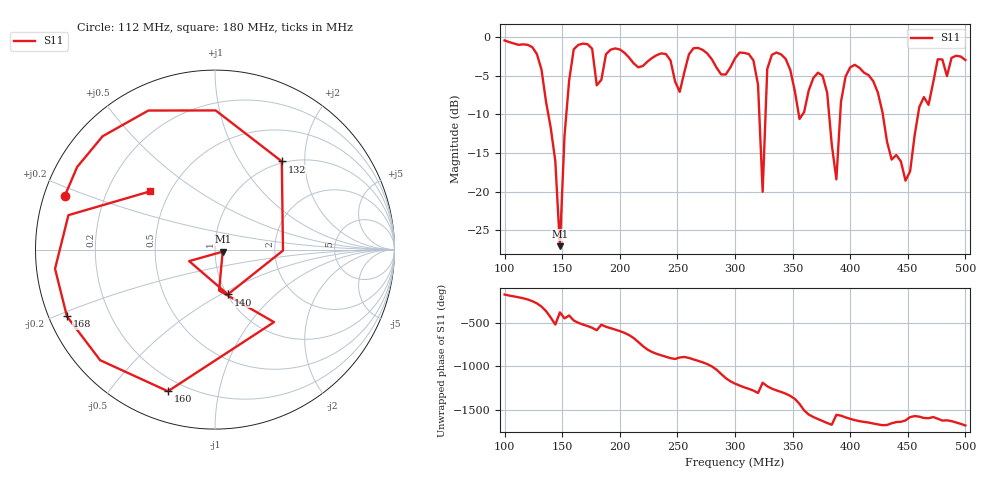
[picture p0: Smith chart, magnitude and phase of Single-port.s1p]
# HZ S RI R 50
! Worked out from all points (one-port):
!   101 points, 100 MHz to 500 MHz, reference 50 ohm
!   lowest |S11| = -27.1 dB at 148 MHz (marker M1), VSWR 1.09, Z = 54.5 - j1.26 ohm
!   |S11| at or under -10 dB: 137.9 MHz to 153.6 MHz (15.66 MHz wide, 10.7 % of centre); 381.7 MHz to 391.4 MHz (9.697 MHz wide, 2.51 % of centre); 428.3 MHz to 459 MHz (30.68 MHz wide, 6.92 % of centre)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
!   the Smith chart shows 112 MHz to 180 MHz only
!   S11 on the Smith chart (normalised r, x): 112 MHz: 0.06, +0.17; 132 MHz: 0.98, +1.55; 140 MHz: 1.01, -0.54; 160 MHz: 0.14, -0.71; 168 MHz: 0.05, -0.21; 180 MHz: 0.39, +0.33
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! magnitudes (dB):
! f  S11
! 100 MHz  -0.5
! 112 MHz  -1.0
! 132 MHz  -4.2
! 140 MHz  -11.7
! 148 MHz  -27.1
! 152 MHz  -12.8
! 160 MHz  -1.6
! 168 MHz  -0.9
! 180 MHz  -6.3
! 200 MHz  -1.6
! 240 MHz  -2.2
! 252 MHz  -7.1
! 264 MHz  -1.5
! 300 MHz  -2.8
! 316 MHz  -3.0
! 320 MHz  -6.2
! 324 MHz  -20.0
! 328 MHz  -4.1
! 352 MHz  -7.1
! 356 MHz  -10.6
! 376 MHz  -5.0
! 388 MHz  -18.4
! 392 MHz  -8.4
! 400 MHz  -3.9
! 452 MHz  -17.4
! 460 MHz  -9.1
! 476 MHz  -2.9
! 500 MHz  -3.0
